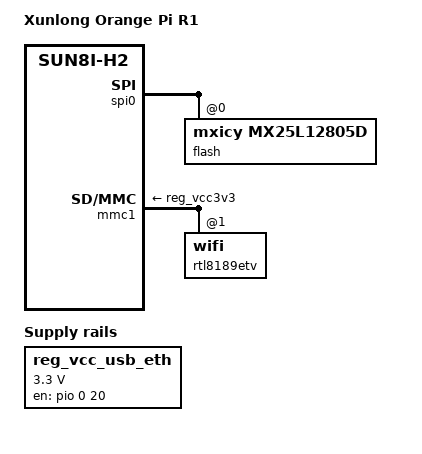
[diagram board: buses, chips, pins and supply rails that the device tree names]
/*
 * Copyright (C) 2017 Icenowy Zheng <icenowy@aosc.xyz>
 *
 * This file is dual-licensed: you can use it either under the terms
 * of the GPL or the X11 license, at your option. Note that this dual
 * licensing only applies to this file, and not this project as a
 * whole.
 *
 *  a) This file is free software; you can redistribute it and/or
 *     modify it under the terms of the GNU General Public License as
 *     published by the Free Software Foundation; either version 2 of the
 *     License, or (at your option) any later version.
 *
 *     This file is distributed in the hope that it will be useful,
 *     but WITHOUT ANY WARRANTY; without even the implied warranty of
 *     MERCHANTABILITY or FITNESS FOR A PARTICULAR PURPOSE.  See the
 *     GNU General Public License for more details.
 *
 * Or, alternatively,
 *
 *  b) Permission is hereby granted, free of charge, to any person
 *     obtaining a copy of this software and associated documentation
 *     files (the "Software"), to deal in the Software without
 *     restriction, including without limitation the rights to use,
 *     copy, modify, merge, publish, distribute, sublicense, and/or
 *     sell copies of the Software, and to permit persons to whom the
 *     Software is furnished to do so, subject to the following
 *     conditions:
 *
 *     The above copyright notice and this permission notice shall be
 *     included in all copies or substantial portions of the Software.
 *
 *     THE SOFTWARE IS PROVIDED "AS IS", WITHOUT WARRANTY OF ANY KIND,
 *     EXPRESS OR IMPLIED, INCLUDING BUT NOT LIMITED TO THE WARRANTIES
 *     OF MERCHANTABILITY, FITNESS FOR A PARTICULAR PURPOSE AND
 *     NONINFRINGEMENT. IN NO EVENT SHALL THE AUTHORS OR COPYRIGHT
 *     HOLDERS BE LIABLE FOR ANY CLAIM, DAMAGES OR OTHER LIABILITY,
 *     WHETHER IN AN ACTION OF CONTRACT, TORT OR OTHERWISE, ARISING
 *     FROM, OUT OF OR IN CONNECTION WITH THE SOFTWARE OR THE USE OR
 *     OTHER DEALINGS IN THE SOFTWARE.
 */

/* Orange Pi R1 is based on Orange Pi Zero design */
#include "sun8i-h2-plus-orangepi-zero.dts"

/delete-node/ &reg_vcc_wifi;

/ {
	model = "Xunlong Orange Pi R1";
	compatible = "xunlong,orangepi-r1", "allwinner,sun8i-h2-plus";


	/*
	 * Ths pin of this regulator is the same with the Wi-Fi extra
	 * regulator on the original Zero. However it's used for USB
	 * Ethernet rather than the Wi-Fi now.
	 */
	reg_vcc_usb_eth: reg-vcc-usb-ethernet {
		compatible = "regulator-fixed";
		regulator-min-microvolt = <3300000>;
		regulator-max-microvolt = <3300000>;
		regulator-name = "vcc-usb-ethernet";
		enable-active-high;
		gpio = <&pio 0 20 GPIO_ACTIVE_HIGH>;
	};

	aliases {
		ethernet1 = &rtl8189etv;
	};
};

&spi0 {
	status = "okay";

	flash@0 {
		compatible = "mxicy,mx25l12805d", "jedec,spi-nor";
	};
};

&ohci1 {
	/*
	 * RTL8152B USB-Ethernet adapter is connected to USB1,
	 * and it's a USB 2.0 device. So the OHCI1 controller
	 * can be left disabled.
	 */
	status = "disabled";
};

&mmc1 {
	vmmc-supply = <&reg_vcc3v3>;
	vqmmc-supply = <&reg_vcc3v3>;

	rtl8189etv: wifi@1 {
		reg = <1>;
	};
};

&usbphy {
	usb1_vbus-supply = <&reg_vcc_usb_eth>;
};
